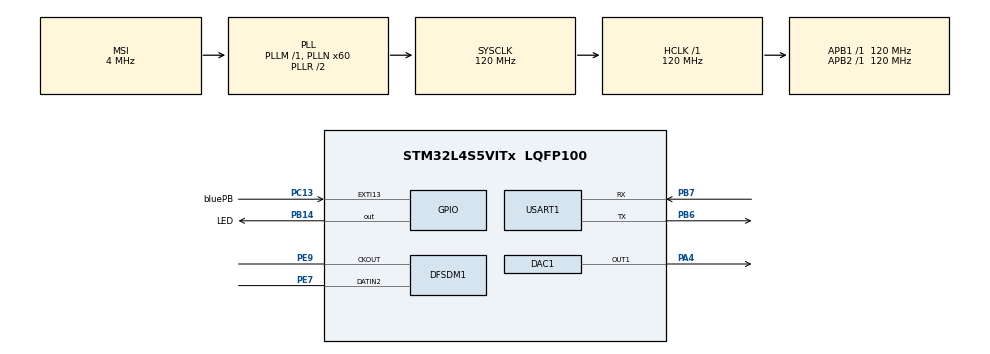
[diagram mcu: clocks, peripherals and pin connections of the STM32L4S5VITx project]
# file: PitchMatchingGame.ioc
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DAC1.DAC_Trigger-DAC_OUT1=DAC_TRIGGER_T2_TRGO
DFSDM1.Divider=50
DFSDM1.DmaMode_reg_FIL0=ENABLE
DFSDM1.FastMode_reg_FIL0=ENABLE
DFSDM1.Filter_regChannel_FIL0=DFSDM_CHANNEL_2
DFSDM1.Fosr_FIL0=55
DFSDM1.SincOrder_FIL0=DFSDM_FILTER_SINC1_ORDER
Dma.DAC1_CH1.1.Direction=DMA_MEMORY_TO_PERIPH
Dma.DAC1_CH1.1.EventEnable=DISABLE
Dma.DAC1_CH1.1.Instance=DMA1_Channel1
Dma.DAC1_CH1.1.MemDataAlignment=DMA_MDATAALIGN_HALFWORD
Dma.DAC1_CH1.1.MemInc=DMA_MINC_ENABLE
Dma.DAC1_CH1.1.Mode=DMA_CIRCULAR
Dma.DAC1_CH1.1.PeriphDataAlignment=DMA_PDATAALIGN_HALFWORD
Dma.DAC1_CH1.1.PeriphInc=DMA_PINC_DISABLE
Dma.DAC1_CH1.1.Polarity=HAL_DMAMUX_REQUEST_GEN_RISING
Dma.DAC1_CH1.1.Priority=DMA_PRIORITY_LOW
Dma.DAC1_CH1.1.RequestNumber=1
Dma.DAC1_CH1.1.SignalID=NONE
Dma.DAC1_CH1.1.SyncEnable=DISABLE
Dma.DAC1_CH1.1.SyncPolarity=HAL_DMAMUX_SYNC_NO_EVENT
Dma.DAC1_CH1.1.SyncRequestNumber=1
Dma.DAC1_CH1.1.SyncSignalID=NONE
Dma.DFSDM1_FLT0.0.Direction=DMA_PERIPH_TO_MEMORY
Dma.DFSDM1_FLT0.0.EventEnable=DISABLE
Dma.DFSDM1_FLT0.0.Instance=DMA1_Channel2
Dma.DFSDM1_FLT0.0.MemDataAlignment=DMA_MDATAALIGN_WORD
Dma.DFSDM1_FLT0.0.MemInc=DMA_MINC_ENABLE
Dma.DFSDM1_FLT0.0.Mode=DMA_NORMAL
Dma.DFSDM1_FLT0.0.PeriphDataAlignment=DMA_PDATAALIGN_WORD
Dma.DFSDM1_FLT0.0.PeriphInc=DMA_PINC_DISABLE
Dma.DFSDM1_FLT0.0.Polarity=HAL_DMAMUX_REQUEST_GEN_RISING
Dma.DFSDM1_FLT0.0.Priority=DMA_PRIORITY_LOW
Dma.DFSDM1_FLT0.0.RequestNumber=1
Dma.DFSDM1_FLT0.0.SignalID=NONE
Dma.DFSDM1_FLT0.0.SyncEnable=DISABLE
Dma.DFSDM1_FLT0.0.SyncPolarity=HAL_DMAMUX_SYNC_NO_EVENT
Dma.DFSDM1_FLT0.0.SyncRequestNumber=1
Dma.DFSDM1_FLT0.0.SyncSignalID=NONE
Dma.Request0=DFSDM1_FLT0
Dma.Request1=DAC1_CH1
Mcu.Family=STM32L4
Mcu.Name=STM32L4S5VITx
Mcu.Package=LQFP100
NVIC.DMA1_Channel1_IRQn=true\:0\:0\:false\:false\:true\:false\:true\:true
NVIC.DMA1_Channel2_IRQn=true\:0\:0\:false\:false\:true\:false\:true\:true
NVIC.EXTI15_10_IRQn=true\:0\:0\:false\:false\:true\:true\:true\:true
NVIC.PriorityGroup=NVIC_PRIORITYGROUP_4
NVIC.TIM2_IRQn=true\:0\:0\:false\:false\:true\:true\:true\:true
NVIC.USART1_IRQn=true\:0\:0\:false\:false\:true\:true\:true\:true
PA4.Signal=COMP_DAC11_group
PB14.GPIO_Label=LED
PB14.Signal=GPIO_Output
PB6.Mode=Asynchronous
PB6.Signal=USART1_TX
PB7.Mode=Asynchronous
PB7.Signal=USART1_RX
PC13.GPIO_Label=bluePB
PC13.Signal=GPXTI13
PE7.Signal=S_DATAIN2DFSDM1
PE9.Signal=S_CKOUTDFSDM1
ProjectManager.HeapSize=0x200
ProjectManager.StackSize=0x400
ProjectManager.TargetToolchain=STM32CubeIDE
RCC.ADCFreq_Value=48000000
RCC.AHBFreq_Value=120000000
RCC.APB1Freq_Value=120000000
RCC.APB1TimFreq_Value=120000000
RCC.APB2Freq_Value=120000000
RCC.APB2TimFreq_Value=120000000
RCC.CortexFreq_Value=120000000
RCC.HCLKFreq_Value=120000000
RCC.HSE_VALUE=8000000
RCC.HSI48_VALUE=48000000
RCC.HSI_VALUE=16000000
RCC.LSE_VALUE=32768
RCC.MSI_VALUE=4000000
RCC.PLLN=60
RCC.PLLSAI1N=24
RCC.SYSCLKFreq_VALUE=120000000
RCC.SYSCLKSource=RCC_SYSCLKSOURCE_PLLCLK
RCC.USBFreq_Value=48000000
RCC.VCOOutputFreq_Value=240000000
SH.COMP_DAC11_group.0=DAC1_OUT1,DAC_OUT1
SH.S_CKOUTDFSDM1.0=DFSDM1_CKOUT,PDM_SPI_input_from_ch2_and_internal_clock
SH.S_CKOUTDFSDM1.1=DFSDM1_CKOUT,CKOUT
SH.S_DATAIN2DFSDM1.0=DFSDM1_DATIN2,PDM_SPI_input_from_ch2_and_internal_clock
TIM2.Period=2750
TIM2.TIM_MasterOutputTrigger=TIM_TRGO_UPDATE
USART1.VirtualMode-Asynchronous=VM_ASYNC
VP_TIM2_VS_ClockSourceINT.Mode=Internal
board=B-L4S5I-IOT01A

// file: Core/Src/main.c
/* USER CODE BEGIN Header */
/**
  ******************************************************************************
  * @file           : main.c
  * @brief          : Main program body
  ******************************************************************************
  * @attention
  *
  * Copyright (c) 2025 STMicroelectronics.
  * All rights reserved.
  *
  * This software is licensed under terms that can be found in the LICENSE file
  * in the root directory of this software component.
  * If no LICENSE file comes with this software, it is provided AS-IS.
  *
  ******************************************************************************
  */
/* USER CODE END Header */
#include "main.h"

/* USER CODE BEGIN Includes */
#define ARM_MATH_CM4
#include "arm_math.h"
#include "stdbool.h"
#include <stdlib.h>
#include <string.h>
#include <time.h>
#include <stdio.h>
#include <math.h>
#include "uart_funtions.h"
/* USER CODE END Includes */

/* USER CODE BEGIN PD */
#define DAC_MAX_BUFFER_SIZE 30
#define FFT_LENGTH  1024    // Power of 2 for FFT
#define SAMPLE_RATE 44100   // Hz (reduced from 44100 to save RAM)
#define PI 3.14159265358979f
#define RECORD_LEN	102424	// samples for 2 seconds
#define SCREEN_WIDTH 90
#define SCREEN_HEIGHT 24
#define RESULT_WAIT 5 // seconds to show result screen
/* USER CODE END PD */

DAC_HandleTypeDef hdac1;
DMA_HandleTypeDef hdma_dac1_ch1;

DFSDM_Filter_HandleTypeDef hdfsdm1_filter0;
DFSDM_Channel_HandleTypeDef hdfsdm1_channel2;
DMA_HandleTypeDef hdma_dfsdm1_flt0;

TIM_HandleTypeDef htim2;

UART_HandleTypeDef huart1;

/* USER CODE BEGIN PV */
// State machine for the game
enum GameState {
	MENU,
	PLAY_TONE,
	WAIT_FOR_RECORD,
	RECORD_SOUND,
	ANALYZE_RECORDING,
	PLAYBACK_SOUND,
	SHOW_RESULT
};

enum GameState gameState = MENU;
bool screen_drawn[7] = {false, false, false, false, false, false, false}; // Track if screen was drawn for each state
// Screen buffer: [row][column] = [height][width]
char screen_buffer[SCREEN_HEIGHT][SCREEN_WIDTH + 1]; // +1 for null terminator

float32_t sine_value;
float32_t angle;
uint16_t dacBuffer[RECORD_LEN];  // DAC reads here (8-bit samples, since we read a byte from memory)
int32_t dfsdmBuffer[RECORD_LEN]; // DFSDM writes here (32-bit samples)

volatile uint32_t target_freq; //random frequency for the played audio
volatile float32_t real_freq;
volatile float32_t recorded_freq = 0.0f; // frequency detected in recorded audio
volatile int32_t raw;
// volatile bool playback = false;
// volatile bool recording = false;

// Global array for DMA:
volatile uint16_t sine_wave_array[DAC_MAX_BUFFER_SIZE];

uint8_t uart_rx_buffer[32];
volatile bool uart_cmd_ready = false;
char uart_line[32];
uint8_t uart_pos = 0;

// Cool spinner animation frames
const char* spinner[] = {"⠋", "⠙", "⠹", "⠸", "⠼", "⠴", "⠦", "⠧", "⠇", "⠏"};
#define SPINNER_FRAMES 10

// FFT Analysis Variables
float32_t fftInput[FFT_LENGTH];
float32_t fftOutput[FFT_LENGTH];
float32_t fftMagnitude[FFT_LENGTH/2];
arm_rfft_fast_instance_f32 fftInstance;

/* USER CODE END PV */

void SystemClock_Config(void);
static void MX_GPIO_Init(void);
static void MX_DMA_Init(void);
static void MX_DAC1_Init(void);
static void MX_TIM2_Init(void);
static void MX_DFSDM1_Init(void);
static void MX_USART1_UART_Init(void);
/* USER CODE BEGIN PFP */
// ADD FFT FUNCTION PROTOTYPE
float32_t analyze_frequency(int32_t* audio_data, uint32_t data_length);

// Screen function prototypes
void clear_screen(void);
void print_to_line(uint8_t row, uint8_t col, const char* text);
void print_screen(void);
void center_text(uint8_t row, const char* text);
void init_console(void);
void print_game_title(void);

void test_screen(void);
void menu_screen(void);
void play_tone_screen(void);
void wait_for_record_screen(void);
void record_sound_screen(bool first_draw);
void analyze_recording_screen(void);
void playback_sound_screen(bool first_draw, uint32_t elapsed_ms, uint32_t duration_ms);
void show_result_screen(void);
/* USER CODE END PFP */

/* USER CODE BEGIN 0 */
void play_sound(void)
{
	//generate sine wave:
	for (int i = 0; i < DAC_MAX_BUFFER_SIZE; i++) {
	  angle = 2.0f * 3.1415926535f * i / DAC_MAX_BUFFER_SIZE;
	  sine_value = arm_sin_f32(angle);
	  sine_wave_array[i] = (uint16_t)(2047.5f * sine_value + 2047.5f);
	}
	// Start DAC in DMA mode for the sine wave:
	HAL_DAC_Start_DMA(&hdac1, DAC_CHANNEL_1, (uint32_t*)sine_wave_array,DAC_MAX_BUFFER_SIZE, DAC_ALIGN_12B_R); //set DAC to read bytes from memory...
}

void set_random_frequency(void)
{
    // Generate random number between 400 Hz and 2100 Hz (example range)
	// rand() gives a random integer between 0 and RAND_MAX (usually 32767).
    //target_freq = 400 + (rand() % 1700);

	// Get random frequency in lena's voice range; 200-1200 Hz:
	target_freq = 200 + (rand() % 1000);

    // Assuming your timer clock = 80 MHz (adjust if different)
    uint32_t timer_clock = 120000000;

    // Compute new ARR value:
    // DAC update rate = timer_clock / (Prescaler+1) / (Period+1)
    // You need the update rate to be f_timer = N_samples * f_out
    uint32_t f_timer = DAC_MAX_BUFFER_SIZE * target_freq;
    uint32_t new_period = (timer_clock / f_timer) - 1;

    __HAL_TIM_DISABLE(&htim2);
    __HAL_TIM_SET_AUTORELOAD(&htim2, new_period);
    __HAL_TIM_SET_COUNTER(&htim2, 0);
    __HAL_TIM_ENABLE(&htim2);

    real_freq = (float32_t)timer_clock / ((new_period + 1) * DAC_MAX_BUFFER_SIZE);
}

//FFT:
float32_t analyze_frequency(int32_t* audio_data, uint32_t data_length) {
    // 1. Prepare data for FFT
    uint32_t samples_to_use = (data_length < FFT_LENGTH) ? data_length : FFT_LENGTH;

    // Remove DC offset
    int64_t dc_offset = 0;
    for (int i = 0; i < samples_to_use; i++) {
        dc_offset += audio_data[i];
    }
    dc_offset /= samples_to_use;

    // 2. Apply AGGRESSIVE high-pass filter - remove everything below ~200Hz
    static float32_t prev_input = 0.0f;
    static float32_t prev_output = 0.0f;
    static float32_t prev_input2 = 0.0f;
    static float32_t prev_output2 = 0.0f;

    // Two-stage high-pass filter for steeper cutoff
    float32_t alpha = 0.97f;  // More aggressive cutoff

    float32_t filtered[FFT_LENGTH];

    // First stage
    for (int i = 0; i < samples_to_use; i++) {
        float32_t current_input = (float32_t)(audio_data[i] - dc_offset);
        filtered[i] = alpha * (prev_output + current_input - prev_input);
        prev_input = current_input;
        prev_output = filtered[i];
    }

    // Second stage - filter again for steeper rolloff
    for (int i = 0; i < samples_to_use; i++) {
        float32_t current_input = filtered[i];
        filtered[i] = alpha * (prev_output2 + current_input - prev_input2);
        prev_input2 = current_input;
        prev_output2 = filtered[i];
    }

    prev_input = 0.0f;
    prev_output = 0.0f;
    prev_input2 = 0.0f;
    prev_output2 = 0.0f;

    // 3. Apply Hamming window
    for (int i = 0; i < samples_to_use; i++) {
        float32_t window = 0.54f - 0.46f * arm_cos_f32(2.0f * PI * i / (FFT_LENGTH - 1));
        fftInput[i] = filtered[i] * window;
    }

    for (int i = samples_to_use; i < FFT_LENGTH; i++) {
        fftInput[i] = 0.0f;
    }

    // 4. Perform Real FFT
    arm_rfft_fast_f32(&fftInstance, fftInput, fftOutput, 0);

    // 5. Compute magnitude spectrum
    fftMagnitude[0] = 0;
    for (int i = 1; i < FFT_LENGTH/2; i++) {
        float32_t real = fftOutput[2*i];
        float32_t imag = fftOutput[2*i + 1];
        fftMagnitude[i] = sqrtf(real*real + imag*imag);
    }

    // 6. Define search range - START AT 200Hz to avoid the 80-180Hz noise
    uint32_t min_bin = (uint32_t)(200.0f * FFT_LENGTH / SAMPLE_RATE);
    uint32_t max_bin = (uint32_t)(1500.0f * FFT_LENGTH / SAMPLE_RATE);

    if (min_bin < 2) min_bin = 2;
    if (max_bin >= FFT_LENGTH/2) max_bin = FFT_LENGTH/2 - 1;

    // 7. Find overall maximum
    float32_t max_magnitude = 0.0f;
    for (uint32_t i = min_bin; i <= max_bin; i++) {
        if (fftMagnitude[i] > max_magnitude) {
            max_magnitude = fftMagnitude[i];
        }
    }

    if (max_magnitude < 1000.0f) {
        return 0.0f;
    }

    // 8. Find ALL significant peaks
    typedef struct {
        uint32_t bin;
        float32_t magnitude;
        float32_t frequency;
    } Peak;

    Peak peaks[30];
    int peak_count = 0;
    float32_t threshold = max_magnitude * 0.15f;

    for (uint32_t i = min_bin + 1; i < max_bin - 1 && peak_count < 30; i++) {
        if (fftMagnitude[i] > threshold &&
            fftMagnitude[i] > fftMagnitude[i-1] &&
            fftMagnitude[i] > fftMagnitude[i+1]) {

            // Parabolic interpolation
            float32_t y0 = fftMagnitude[i-1];
            float32_t y1 = fftMagnitude[i];
            float32_t y2 = fftMagnitude[i+1];

            float32_t delta = 0.5f * (y2 - y0) / (2.0f * y1 - y2 - y0);
            float32_t freq = ((float32_t)i + delta) * SAMPLE_RATE / FFT_LENGTH;

            peaks[peak_count].bin = i;
            peaks[peak_count].magnitude = fftMagnitude[i];
            peaks[peak_count].frequency = freq;
            peak_count++;
        }
    }

    if (peak_count == 0) {
        return 0.0f;
    }

    // 9. Score each peak - HEAVILY favor higher frequencies
    float32_t best_fundamental = 0.0f;
    float32_t best_score = 0.0f;

    for (int i = 0; i < peak_count; i++) {
        float32_t candidate = peaks[i].frequency;
        float32_t score = 0.0f;

        // STRONG frequency weighting - higher = much better
        // 200Hz: weight = 0.4
        // 500Hz: weight = 1.0
        // 1000Hz: weight = 2.0
        // 1500Hz: weight = 3.0
        float32_t frequency_weight = candidate / 500.0f;
        if (frequency_weight < 0.4f) frequency_weight = 0.4f;
        if (frequency_weight > 3.0f) frequency_weight = 3.0f;

        score = peaks[i].magnitude * frequency_weight;

        // Check if other peaks are SUBHARMONICS of this candidate
        int subharmonic_count = 0;
        for (int div = 2; div <= 4; div++) {
            float32_t subharmonic_freq = candidate / (float32_t)div;

            if (subharmonic_freq < 200.0f) continue;

            for (int j = 0; j < peak_count; j++) {
                if (i == j) continue;

                float32_t diff = fabsf(peaks[j].frequency - subharmonic_freq);
                float32_t tolerance = subharmonic_freq * 0.15f;

                if (diff < tolerance) {
                    // Penalize heavily - this is probably not fundamental
                    score *= 0.5f;
                    subharmonic_count++;
                    break;
                }
            }
        }

        // Check for HARMONICS above this candidate
        int harmonic_count = 0;
        for (int h = 2; h <= 5; h++) {
            float32_t harmonic_freq = candidate * h;

            if (harmonic_freq > (float32_t)max_bin * SAMPLE_RATE / FFT_LENGTH) {
                continue;
            }

            for (int j = 0; j < peak_count; j++) {
                float32_t diff = fabsf(peaks[j].frequency - harmonic_freq);
                float32_t tolerance = candidate * 0.15f;

                if (diff < tolerance) {
                    score += peaks[j].magnitude * 0.3f;
                    harmonic_count++;
                    break;
                }
            }
        }

        // Huge boost if we found harmonics and no subharmonics
        if (harmonic_count > 0 && subharmonic_count == 0) {
            score *= 2.0f;
        }

        if (score > best_score) {
            best_score = score;
            best_fundamental = candidate;
        }
    }

    return best_fundamental;
}

// Add this debug function to see what the algorithm is thinking:
void debug_harmonic_analysis(void) {
    char msg[150];
    send_msg("\n=== Harmonic Analysis Debug ===\r\n");

    // Recompute to show scoring
    uint32_t min_bin = (uint32_t)(200.0f * FFT_LENGTH / SAMPLE_RATE);
    uint32_t max_bin = (uint32_t)(1200.0f * FFT_LENGTH / SAMPLE_RATE);

    float32_t max_magnitude = 0.0f;
    for (uint32_t i = min_bin; i <= max_bin; i++) {
        if (fftMagnitude[i] > max_magnitude) {
            max_magnitude = fftMagnitude[i];
        }
    }

    typedef struct {
        uint32_t bin;
        float32_t magnitude;
        float32_t frequency;
    } Peak;

    Peak peaks[30];
    int peak_count = 0;
    float32_t threshold = max_magnitude * 0.15f;

    for (uint32_t i = min_bin + 1; i < max_bin - 1 && peak_count < 30; i++) {
        if (fftMagnitude[i] > threshold &&
            fftMagnitude[i] > fftMagnitude[i-1] &&
            fftMagnitude[i] > fftMagnitude[i+1]) {

            float32_t y0 = fftMagnitude[i-1];
            float32_t y1 = fftMagnitude[i];
            float32_t y2 = fftMagnitude[i+1];

            float32_t delta = 0.5f * (y2 - y0) / (2.0f * y1 - y2 - y0);
            float32_t freq = ((float32_t)i + delta) * SAMPLE_RATE / FFT_LENGTH;

            peaks[peak_count].bin = i;
            peaks[peak_count].magnitude = fftMagnitude[i];
            peaks[peak_count].frequency = freq;
            peak_count++;
        }
    }

    sprintf(msg, "Found %d peaks. Analyzing candidates:\r\n", peak_count);
    send_msg(msg);

    // Show ALL candidates with detailed scoring
    for (int i = 0; i < peak_count; i++) {
        float32_t candidate = peaks[i].frequency;
        int harmonic_count = 0;
        int subharmonic_count = 0;

        // Check for subharmonics
        for (int div = 2; div <= 4; div++) {
            float32_t subharmonic_freq = candidate / (float32_t)div;
            if (subharmonic_freq < 100.0f) continue;

            for (int j = 0; j < peak_count; j++) {
                if (i == j) continue;
                float32_t diff = fabsf(peaks[j].frequency - subharmonic_freq);
                if (diff < subharmonic_freq * 0.15f) {
                    subharmonic_count++;
                    break;
                }
            }
        }

        // Check for harmonics
        for (int h = 2; h <= 5; h++) {
            float32_t harmonic_freq = candidate * h;
            if (harmonic_freq > 1200.0f) continue;

            for (int j = 0; j < peak_count; j++) {
                float32_t diff = fabsf(peaks[j].frequency - harmonic_freq);
                if (diff < candidate * 0.15f) {
                    harmonic_count++;
                    break;
                }
            }
        }

        sprintf(msg, "  %.1f Hz: mag %.0f, %dH/%dS\r\n",
                candidate, peaks[i].magnitude, harmonic_count, subharmonic_count);
        send_msg(msg);
    }
    send_msg("==============================\r\n\n");
}

// Wrapper for UART send messages
void send_msg(char* msg){
	// HAL_UART_Transmit(&huart1, (uint8_t*)msg, strlen(msg), 1000);
	sendBuffer(huart1.Instance, (uint8_t*)msg, strlen(msg));
}

// Initialize console - print 24 lines and show loading animation
void init_console(void) {
  // Print 24 empty lines to set resolution
  char newlines[SCREEN_HEIGHT + 1];
  for(int i = 0; i < SCREEN_HEIGHT; i++) {
    newlines[i] = '\n';
  }
  newlines[SCREEN_HEIGHT] = '\0';
  HAL_UART_Transmit(&huart1, (uint8_t*)newlines, SCREEN_HEIGHT, 1000);

  // Show initialization screen with loading animation
  clear_screen();
  print_game_title();

  center_text(14, "Initializing System...");
  center_text(15, "Console Resolution: 90x24");

  center_text(16, "System Ready");

  // Print the screen once
  print_screen();

  // Show loading progress bar only on line 23 (last line) for 5 seconds
  uint32_t start_time = HAL_GetTick();
  uint32_t elapsed = 0;
  uint32_t duration = 2000;

  while (elapsed < duration) {
    // Calculate progress percentage
    uint32_t progress = (elapsed * 100) / duration;
    if (progress > 100) progress = 100;

    // Create progress bar: [====>    ] 50%
    int bar_width = 60; // Fixed bar width
    int filled = (progress * bar_width) / 100;

    char loading[SCREEN_WIDTH + 1];
    // Center the progress bar
    int start_pos = (SCREEN_WIDTH - bar_width - 8) / 2; // 8 for "[", "]", " ", "100%"
    int pos = 0;

    // Fill with spaces to center
    for(int i = 0; i < start_pos; i++) {
      loading[pos++] = ' ';
    }

    loading[pos++] = '[';
    for(int i = 0; i < bar_width; i++) {
      if (i < filled) {
        loading[pos++] = '=';
      } else if (i == filled && filled < bar_width) {
        loading[pos++] = '>';
      } else {
        loading[pos++] = ' ';
      }
    }
    loading[pos++] = ']';
    loading[pos++] = ' ';
    sprintf(loading + pos, "%3d%%", (int) progress);

    // Fill rest with spaces
    while (pos < SCREEN_WIDTH) {
      loading[pos++] = ' ';
    }
    loading[SCREEN_WIDTH] = '\0';

    // Update screen buffer line 23
    memcpy(screen_buffer[23], loading, SCREEN_WIDTH);

    // Print only line 23 with carriage return (no newline)
    char line[SCREEN_WIDTH + 1];
    memcpy(line, screen_buffer[23], SCREEN_WIDTH);
    line[SCREEN_WIDTH] = '\r';
    HAL_UART_Transmit(&huart1, (uint8_t*)line, SCREEN_WIDTH + 1, 1000);

    HAL_Delay(50); // Update every 50ms for smooth progress
    elapsed = HAL_GetTick() - start_time;
  }

  HAL_Delay(1000);
}

// Test screen
void test_screen(void) {
  // This tests the screen resolution of 90x24
  clear_screen();

  // Top border with line number
  char top_line[SCREEN_WIDTH + 1];
  sprintf(top_line, "1=========----------==========----------TESTSCREEN----------==========----------========90");
  print_to_line(0, 0, top_line);

  // Numbered lines
  for(int i = 2; i < 24; i++) {
    char line[20];
    sprintf(line, "%d", i);
    print_to_line(i - 1, 0, line);
  }

  // Bottom border
  char bottom_line[SCREEN_WIDTH + 1];
  sprintf(bottom_line, "24========----------==========----------[[90__24]]----------==========----------========90");
  print_to_line(23, 0, bottom_line);

  print_screen();
}

/**
 * Print the game title to the screen
 * From line 2 to line 12
 * From column 4 to column 40
    ____  _ __       __       __  ___      __       __    _
   / __ \(_) /______/ /_     /  |/  /___ _/ /______/ /_  (_)___  ____ _
  / /_/ / / __/ ___/ __ \   / /|_/ / __ `/ __/ ___/ __ \/ / __ \/ __ `/
 / ____/ / /_/ /__/ / / /  / /  / / /_/ / /_/ /__/ / / / / / / / /_/ /
/_/   /_/\__/\___/_/ /_/  /_/  /_/\__,_/\__/\___/_/ /_/_/_/ /_/\__, /
                                                              /____/
   _________    __  _________
  / ____/   |  /  |/  / ____/
 / / __/ /| | / /|_/ / __/
/ /_/ / ___ |/ /  / / /___
\____/_/  |_/_/  /_/_____/

 */
void print_game_title(void) {

   print_to_line(2, 4, "    ____  _ __       __       __  ___      __       __    _");
   print_to_line(3, 4, "   / __ \\(_) /______/ /_     /  |/  /___ _/ /______/ /_  (_)___  ____ _");
   print_to_line(4, 4, "  / /_/ / / __/ ___/ __ \\   / /|_/ / __ `/ __/ ___/ __ \\/ / __ \\/ __ `/");
   print_to_line(5, 4, " / ____/ / /_/ /__/ / / /  / /  / / /_/ / /_/ /__/ / / / / / / / /_/ /");
   print_to_line(6, 4, "/_/   /_/\\__/\\___/_/ /_/  /_/  /_/\\__,_/\\__/\\___/_/ /_/_/_/ /_/\\__, /");
   print_to_line(7, 4, "                                                              /____/");

   print_to_line(8 , 14, "   _________    __  _________");
   print_to_line(9 , 14, "  / ____/   |  /  |/  / ____/");
   print_to_line(10, 14, " / / __/ /| | / /|_/ / __/");
   print_to_line(11, 14, "/ /_/ / ___ |/ /  / / /___");
   print_to_line(12, 14, "\\____/_/  |_/_/  /_/_____/");
}

// Clear screen buffer with spaces
void clear_screen(void) {
  for(int row = 0; row < SCREEN_HEIGHT; row++) {
    for(int col = 0; col < SCREEN_WIDTH; col++) {
      screen_buffer[row][col] = ' ';
    }
    screen_buffer[row][SCREEN_WIDTH] = '\0'; // Null terminate
  }
}

// Print a string to a specific line (row) at a specific column
void print_to_line(uint8_t row, uint8_t col, const char* text) {
  if (row >= SCREEN_HEIGHT) return;

  int len = strlen(text);
  int max_len = SCREEN_WIDTH - col;
  if (len > max_len) len = max_len;

  for(int i = 0; i < len; i++) {
    if (col + i < SCREEN_WIDTH) {
      screen_buffer[row][col + i] = text[i];
    }
  }
}

// Print entire screen buffer to UART (clears screen first with newlines)
void print_screen(void) {
  // Clear screen by sending 24 newlines
  char newlines[SCREEN_HEIGHT + 1];
  for(int i = 0; i < SCREEN_HEIGHT; i++) {
    newlines[i] = '\n';
  }
  newlines[SCREEN_HEIGHT] = '\0';
  HAL_UART_Transmit(&huart1, (uint8_t*)newlines, SCREEN_HEIGHT, 1000);

  // Print each line
  for(int row = 0; row < SCREEN_HEIGHT; row++) {
    char line[SCREEN_WIDTH + 2];
    memcpy(line, screen_buffer[row], SCREEN_WIDTH);
    line[SCREEN_WIDTH] = '\r';
    if (row < SCREEN_HEIGHT - 1) {
      // Add newline for all lines except the last one
      line[SCREEN_WIDTH + 1] = '\n';
      HAL_UART_Transmit(&huart1, (uint8_t*)line, SCREEN_WIDTH + 2, 1000);
    } else {
      // Last line: only carriage return, no newline
      line[SCREEN_WIDTH + 1] = '\r';
      HAL_UART_Transmit(&huart1, (uint8_t*)line, SCREEN_WIDTH + 1, 1000);
    }
  }
}

// Helper function to center text on a line
void center_text(uint8_t row, const char* text) {
  int len = strlen(text);
  int start_col = (SCREEN_WIDTH - len) / 2;
  if (start_col < 0) start_col = 0;
  print_to_line(row, start_col, text);
}

// MENU state screen
void menu_screen(void) {
  clear_screen();

  print_game_title();

  // Menu options with decorative bullets
  center_text(16, "Enter 's' to start the game");

  // Footer
  char footer[] = "✨ Made by Group 21 of ECSE 444 - Fall 2025 ✨";
  center_text(23, footer);

  print_screen();
}

/**
 * Print the play tone screen
 * From line 2 to line 12
 * From column 4 to column 40
 , __  _                                                                /\/
/|/  \| |             o                                       o
 |___/| |  __,            _  _    __,    _  _  _           ,      __
 |    |/  /  |  |   | |  / |/ |  /  |   / |/ |/ |  |   |  / \_|  /
 |    |__/\_/|_/ \_/|/|_/  |  |_/\_/|/    |  |  |_/ \_/|_/ \/ |_/\___/
                   /|              /|
                   \|              \|
 */
void play_tone_screen(void) {
  clear_screen();

  print_to_line(2, 6, ", __  _                                                                /\\/");
  print_to_line(3, 6, "/|/  \\| |             o                                       o");
  print_to_line(4, 6, " |___/| |  __,            _  _    __,    _  _  _           ,      __");
  print_to_line(5, 6, " |    |/  /  |  |   | |  / |/ |  /  |   / |/ |/ |  |   |  / \\_|  /");
  print_to_line(6, 6, " |    |__/\\_/|_/ \\_/|/|_/  |  |_/\\_/|/    |  |  |_/ \\_/|_/ \\/ |_/\\___/");
  print_to_line(7, 6, "                   /|              /|");
  print_to_line(8, 6, "                   \\|              \\|");

  // char freq_msg[50];
  // sprintf(freq_msg, "Target Frequency: %.2f Hz", real_freq);
  // center_text(8, freq_msg);

  center_text(10, "Listen carefully...");

  print_screen();
}

/**
WAIT_FOR_RECORD state screen
 _
(_|   |                                              |
  |   |  __          ,_     _|_         ,_    _  _   |
  |   | /  \_|   |  /  |     |  |   |  /  |  / |/ |  |
   \_/|/\__/  \_/|_/   |_/   |_/ \_/|_/   |_/  |  |_/o
     /|
     \|
*/
void wait_for_record_screen(void) {
  clear_screen();

  print_to_line(2, 8, " _");
  print_to_line(3, 8, "(_|   |                                              |");
  print_to_line(4, 8, "  |   |  __          ,_     _|_         ,_    _  _   |");
  print_to_line(5, 8, "  |   | /  \\_|   |  /  |     |  |   |  /  |  / |/ |  |");
  print_to_line(6, 8, "   \\_/|/\\__/  \\_/|_/   |_/   |_/ \\_/|_/   |_/  |  |_/o");
  print_to_line(7, 8, "     /|");
  print_to_line(8, 8, "     \\|");

  center_text(16, "Try to match the pitch by singing into the microphone!");
  center_text(18, "Enter 'r' to start recording");

  print_screen();
}

/**
 * RECORD_SOUND state screen
 _ _ ___    ___    ___    ___    ___    ___    ___    ___    ___    ___  _ _
( | )   |  /   |  /   |  /   |  /   |  /   |  /   |  /   |  /   |  /   |( | )
|/|/ /| | / /| | / /| | / /| | / /| | / /| | / /| | / /| | / /| | / /| ||/|/
  / ___ |/ ___ |/ ___ |/ ___ |/ ___ |/ ___ |/ ___ |/ ___ |/ ___ |/ ___ |
 /_/  |_/_/  |_/_/  |_/_/  |_/_/  |_/_/  |_/_/  |_/_/  |_/_/  |_/_/  |_|
*/
void record_sound_screen(bool first_draw) {
  if (first_draw) {
    // Draw the screen only once
    clear_screen();

    print_to_line(2, 8, " _ _ ___    ___    ___    ___    ___    ___    ___    ___    ___    ___  _ _");
    print_to_line(3, 8, "( | )   |  /   |  /   |  /   |  /   |  /   |  /   |  /   |  /   |( | )");
    print_to_line(4, 8, "|/|/ /| | / /| | / /| | / /| | / /| | / /| | / /| | / /| | / /| ||/|/");
    print_to_line(5, 8, "  / ___ |/ ___ |/ ___ |/ ___ |/ ___ |/ ___ |/ ___ |/ ___ |/ ___ |");
    print_to_line(6, 8, " /_/  |_/_/  |_/_/  |_/_/  |_/_/  |_/_/  |_/_/  |_/_/  |_/_/  |_|");

    center_text(16, "Made you said that hahahaha...");

    print_screen();
  }

  // Update only line 23 (last line) with recording indicator using \r
  static int frame = 0;
  char indicator[SCREEN_WIDTH + 1];
  sprintf(indicator, "Recording %s", spinner[frame % SPINNER_FRAMES]);
  center_text(23, indicator);
  frame++;

  // Print only line 23 with carriage return (no newline)
  char line[SCREEN_WIDTH + 1];
  memcpy(line, screen_buffer[23], SCREEN_WIDTH);
  line[SCREEN_WIDTH] = '\r';
  // send_msg(line);
  HAL_UART_Transmit(&huart1, (uint8_t*)line, SCREEN_WIDTH + 1, 1000);
}

// ANALYZE_RECORDING state screen
void analyze_recording_screen(void) {
  // Update only line 23 (last line) with analysis message using \r
  center_text(23, "Analyzing your beautiful vocal...");

  // Print only line 23 with carriage return (no newline)
  char line[SCREEN_WIDTH + 1];
  memcpy(line, screen_buffer[23], SCREEN_WIDTH);
  line[SCREEN_WIDTH] = '\r';
  send_msg(line);
  // HAL_UART_Transmit(&huart1, (uint8_t*)line, SCREEN_WIDTH + 1, 1000);
}

/*&
 * SHOW_RESULT state screen

  ____                                            _ _
 / ___| __ _ _ __ ___   ___   _ __ ___  ___ _   _| | |_ ___
| |  _ / _` | '_ ` _ \ / _ \ | '__/ _ \/ __| | | | | __/ __|
| |_| | (_| | | | | | |  __/ | | |  __/\__ \ |_| | | |_\__ \
 \____|\__,_|_| |_| |_|\___| |_|  \___||___/\__,_|_|\__|___/

 _____ _____ _____ _____ _____ _____ _____ _____ _____ _____ _____ _____
|_____|_____|_____|_____|_____|_____|_____|_____|_____|_____|_____|_____|
*/
void show_result_screen(void) {
  clear_screen();

  print_to_line(2, 4, "  ____                                            _ _");
  print_to_line(3, 4, " / ___| __ _ _ __ ___   ___   _ __ ___  ___ _   _| | |_ ___");
  print_to_line(4, 4, "| |  _ / _` | '_ ` _ \\ / _ \\ | '__/ _ \\/ __| | | | | __/ __|");
  print_to_line(5, 4, "| |_| | (_| | | | | | |  __/ | | |  __/\\__ \\ |_| | | |_\\__ \\");
  print_to_line(6, 4, " \\____|\\__,_|_| |_| |_|\\___| |_|  \\___||___/\\__,_|_|\\__|___/");

  print_to_line(8, 4, " _____ _____ _____ _____ _____ _____ _____ _____ _____ _____ _____ _____");
  print_to_line(9, 4, "|_____|_____|_____|_____|_____|_____|_____|_____|_____|_____|_____|_____|");

  if (recorded_freq > 0.0f) {
    float32_t diff = fabsf(recorded_freq - real_freq);
    float32_t ratio = (recorded_freq < real_freq) ? recorded_freq/real_freq : real_freq/recorded_freq;
    float32_t accuracy = ratio * 100.0f;

    char target_msg[50];
    sprintf(target_msg, "Target: %.2f Hz", real_freq);
    center_text(14, target_msg);

    char your_msg[50];
    sprintf(your_msg, "Your pitch: %.2f Hz", recorded_freq);
    center_text(15, your_msg);

    char diff_msg[50];
    sprintf(diff_msg, "Difference: %.2f Hz", diff);
    center_text(16, diff_msg);

    char acc_msg[50];
    sprintf(acc_msg, "Accuracy: %.2f%%", accuracy);
    center_text(17, acc_msg);

    // Result message
    if (diff <= 10.0f) {
      center_text(20, "Excellent match!");
    } else if (diff <= 50.0f) {
      center_text(20, "Good effort!");
    } else {
      center_text(20, "Keep practicing!");
    }
  } else {
    center_text(20, "Womp womp :P Could not detect your pitch");
    center_text(21, "Try again!");
  }

  print_screen();
}

// ADD UART RECEIVE CALLBACK:
//void HAL_UART_RxCpltCallback(UART_HandleTypeDef *huart)
//{
//    if (huart->Instance == USART1)
//    {
//        uint8_t c = uart_rx_buffer[0];
//
//        if (c == '\r' || c == '\n') {
//            uart_line[uart_pos] = '\0';    // terminate string
//            uart_cmd_ready = true;
//            uart_pos = 0;                  // reset for next command
//        }
//        else if (uart_pos < sizeof(uart_line) - 1) {
//            uart_line[uart_pos++] = c;     // store character
//        }
//
//        HAL_UART_Receive_IT(&huart1, uart_rx_buffer, 1);  // restart interrupt
//    }
//}

// FUNCTION TO PROCESS UART COMMANDS:
void process_uart_command(char* cmd) {
    // Remove newline characters
    int len = strlen(cmd);
    while (len > 0 && (cmd[len-1] == '\r' || cmd[len-1] == '\n')) {
        cmd[len-1] = '\0';
        len--;
    }

    if (strcmp(cmd, "start") == 0 || strcmp(cmd, "s") == 0 || strcmp(cmd, "1") == 0) {
        if (gameState == MENU) {
            // Reset screen flags
            for(int i = 0; i < 7; i++) {
                screen_drawn[i] = false;
            }
            gameState = PLAY_TONE;
        }
    }
    else if (strcmp(cmd, "record") == 0 || strcmp(cmd, "r") == 0) {
        if (gameState == WAIT_FOR_RECORD) {
            send_msg("Starting recording...\r\n");
            HAL_GPIO_WritePin(LED_GPIO_Port, LED_Pin, GPIO_PIN_SET);
            if (HAL_DFSDM_FilterRegularStart_DMA(&hdfsdm1_filter0, dfsdmBuffer, RECORD_LEN) != HAL_OK) {
                send_msg("Error starting recording!\r\n");
                gameState = MENU;
            } else {
                gameState = RECORD_SOUND;
            }
        }
    }
    else if (strcmp(cmd, "help") == 0 || strcmp(cmd, "h") == 0) {
        send_msg("Available commands:\r\n");
        send_msg("start/s - Start the game\r\n");
        send_msg("record/r - Start recording (when prompted)\r\n");
        send_msg("help/h - Show this help\r\n");
    }
    else {
        char msg[60];
        sprintf(msg, "Unknown command: '%s'. Type 'help' for commands.\r\n", cmd);
        send_msg(msg);
    }
}
/* USER CODE END 0 */

int main(void)
{

  /* MCU Configuration--------------------------------------------------------*/

  /* Reset of all peripherals, Initializes the Flash interface and the Systick. */
  HAL_Init();

  /* Configure the system clock */
  SystemClock_Config();

  /* Initialize all configured peripherals */
  MX_GPIO_Init();
  MX_DMA_Init();
  MX_DAC1_Init();
  MX_TIM2_Init();
  MX_DFSDM1_Init();
  MX_USART1_UART_Init();
  /* USER CODE BEGIN 2 */

  HAL_TIM_Base_Start(&htim2); //Don't forget to set DAC trigger tim2 for DMA

  // Initialize FFT
  if (arm_rfft_fast_init_f32(&fftInstance, FFT_LENGTH) != ARM_MATH_SUCCESS) {
      Error_Handler();
  }

  //for the random frequency:
  srand(HAL_GetTick());

  // START UART RECEPTION - ADD THIS LINE:
  HAL_UART_Receive_IT(&huart1, uart_rx_buffer, 1); //This tells the UART peripheral: "When you receive 1 byte, trigger an interrupt"

  // Initialize console - print 24 lines and show loading animation
  init_console();
  /* USER CODE END 2 */

  /* Infinite loop */
  /* USER CODE BEGIN WHILE */
  while (1)
  {
	if (uart_cmd_ready) {
    /**
     * possible commands includes:
     * start/s - Start the game
     * record/r - Start recording (when prompted)
     * help/h - Show this help
     */
	  process_uart_command(uart_line);
	  uart_cmd_ready = false;
	}
	switch(gameState) {
		case MENU: {
			if (!screen_drawn[MENU]) {
				menu_screen();
				screen_drawn[MENU] = true;
			}
			HAL_Delay(10);
			break;
    }
		case PLAY_TONE: {
			if (!screen_drawn[PLAY_TONE]) {
				// Play the target frequency tone
				set_random_frequency();
				play_tone_screen();
				play_sound();
				screen_drawn[PLAY_TONE] = true;
			}
			HAL_Delay(3000);  // Play tone for 3 seconds
			HAL_DAC_Stop_DMA(&hdac1, DAC_CHANNEL_1);
			// Reset flags and move to next state
			screen_drawn[PLAY_TONE] = false;
			screen_drawn[WAIT_FOR_RECORD] = false;
			gameState = WAIT_FOR_RECORD;
			break;
		}

		case WAIT_FOR_RECORD: {
			if (!screen_drawn[WAIT_FOR_RECORD]) {
				wait_for_record_screen();
				screen_drawn[WAIT_FOR_RECORD] = true;
			}
			HAL_Delay(10);
			break;
		}

		case RECORD_SOUND:
			// Update screen periodically to show animation
			static uint32_t last_record_update = 0;
			if (HAL_GetTick() - last_record_update > 200) {
				record_sound_screen(!screen_drawn[RECORD_SOUND]);
				if (!screen_drawn[RECORD_SOUND]) {
					screen_drawn[RECORD_SOUND] = true;
				}
				last_record_update = HAL_GetTick();
			}
			// Recording is in progress (handled by interrupt)
			HAL_Delay(10);
			break;

		case ANALYZE_RECORDING:
			// Show analysis screen with animation
			static uint32_t last_analyze_update = 0;
			if (HAL_GetTick() - last_analyze_update > 200) {
				analyze_recording_screen();
				last_analyze_update = HAL_GetTick();
			}
			// Perform frequency analysis
			recorded_freq = analyze_frequency(dfsdmBuffer, RECORD_LEN);
			// Note: debug_harmonic_analysis() uses send_msg for debug output

			// Reset flags and move directly to SHOW_RESULT (skip playback)
			screen_drawn[ANALYZE_RECORDING] = false;
			screen_drawn[SHOW_RESULT] = false;
			gameState = SHOW_RESULT;
			break;

		case SHOW_RESULT: {
			if (!screen_drawn[SHOW_RESULT]) {
				show_result_screen();
				screen_drawn[SHOW_RESULT] = true;
			}
			// Reset all flags before go back to MENU state
			for(int i = 0; i < 7; i++) {
				screen_drawn[i] = false;
			}

			// INSERT_YOUR_CODE
			// Countdown from 10 to 0 with \r on result screen
			for (int sec = RESULT_WAIT; sec >= 0; sec--) {
				char countdown_line[SCREEN_WIDTH + 1];
				// Format message: "Returning to menu in 10...", centered
				char msg[32];
				sprintf(msg, "Returning to menu in %2d...", sec);
				memset(countdown_line, ' ', SCREEN_WIDTH);
				int msg_len = strlen(msg);
				int start_pos = (SCREEN_WIDTH - msg_len) / 2;
				if (start_pos < 0) start_pos = 0;
				memcpy(countdown_line + start_pos, msg, msg_len);
				countdown_line[SCREEN_WIDTH] = '\r'; // carriage return
				HAL_UART_Transmit(&huart1, (uint8_t*)countdown_line, SCREEN_WIDTH + 1, 1000);
				HAL_Delay(1000); // Wait 1 second
			}

			gameState = MENU;
			break;
		}

		default:
			// Reset all flags
			for(int i = 0; i < 7; i++) {
				screen_drawn[i] = false;
			}
			gameState = MENU;
			break;
	}

    /* USER CODE END WHILE */

  }
}

void SystemClock_Config(void)
{
  RCC_OscInitTypeDef RCC_OscInitStruct = {0};
  RCC_ClkInitTypeDef RCC_ClkInitStruct = {0};

  /** Configure the main internal regulator output voltage
  */
  if (HAL_PWREx_ControlVoltageScaling(PWR_REGULATOR_VOLTAGE_SCALE1_BOOST) != HAL_OK)
  {
    Error_Handler();
  }

  /** Initializes the RCC Oscillators according to the specified parameters
  * in the RCC_OscInitTypeDef structure.
  */
  RCC_OscInitStruct.OscillatorType = RCC_OSCILLATORTYPE_MSI;
  RCC_OscInitStruct.MSIState = RCC_MSI_ON;
  RCC_OscInitStruct.MSICalibrationValue = 0;
  RCC_OscInitStruct.MSIClockRange = RCC_MSIRANGE_6;
  RCC_OscInitStruct.PLL.PLLState = RCC_PLL_ON;
  RCC_OscInitStruct.PLL.PLLSource = RCC_PLLSOURCE_MSI;
  RCC_OscInitStruct.PLL.PLLM = 1;
  RCC_OscInitStruct.PLL.PLLN = 60;
  RCC_OscInitStruct.PLL.PLLP = RCC_PLLP_DIV2;
  RCC_OscInitStruct.PLL.PLLQ = RCC_PLLQ_DIV2;
  RCC_OscInitStruct.PLL.PLLR = RCC_PLLR_DIV2;
  if (HAL_RCC_OscConfig(&RCC_OscInitStruct) != HAL_OK)
  {
    Error_Handler();
  }

  /** Initializes the CPU, AHB and APB buses clocks
  */
  RCC_ClkInitStruct.ClockType = RCC_CLOCKTYPE_HCLK|RCC_CLOCKTYPE_SYSCLK
                              |RCC_CLOCKTYPE_PCLK1|RCC_CLOCKTYPE_PCLK2;
  RCC_ClkInitStruct.SYSCLKSource = RCC_SYSCLKSOURCE_PLLCLK;
  RCC_ClkInitStruct.AHBCLKDivider = RCC_SYSCLK_DIV1;
  RCC_ClkInitStruct.APB1CLKDivider = RCC_HCLK_DIV1;
  RCC_ClkInitStruct.APB2CLKDivider = RCC_HCLK_DIV1;

  if (HAL_RCC_ClockConfig(&RCC_ClkInitStruct, FLASH_LATENCY_5) != HAL_OK)
  {
    Error_Handler();
  }
}

static void MX_DAC1_Init(void)
{

  DAC_ChannelConfTypeDef sConfig = {0};

  /** DAC Initialization
  */
  hdac1.Instance = DAC1;
  if (HAL_DAC_Init(&hdac1) != HAL_OK)
  {
    Error_Handler();
  }

  /** DAC channel OUT1 config
  */
  sConfig.DAC_SampleAndHold = DAC_SAMPLEANDHOLD_DISABLE;
  sConfig.DAC_Trigger = DAC_TRIGGER_T2_TRGO;
  sConfig.DAC_HighFrequency = DAC_HIGH_FREQUENCY_INTERFACE_MODE_ABOVE_80MHZ;
  sConfig.DAC_OutputBuffer = DAC_OUTPUTBUFFER_ENABLE;
  sConfig.DAC_ConnectOnChipPeripheral = DAC_CHIPCONNECT_DISABLE;
  sConfig.DAC_UserTrimming = DAC_TRIMMING_FACTORY;
  if (HAL_DAC_ConfigChannel(&hdac1, &sConfig, DAC_CHANNEL_1) != HAL_OK)
  {
    Error_Handler();
  }

}

static void MX_DFSDM1_Init(void)
{

  hdfsdm1_filter0.Instance = DFSDM1_Filter0;
  hdfsdm1_filter0.Init.RegularParam.Trigger = DFSDM_FILTER_SW_TRIGGER;
  hdfsdm1_filter0.Init.RegularParam.FastMode = ENABLE;
  hdfsdm1_filter0.Init.RegularParam.DmaMode = ENABLE;
  hdfsdm1_filter0.Init.FilterParam.SincOrder = DFSDM_FILTER_SINC1_ORDER;
  hdfsdm1_filter0.Init.FilterParam.Oversampling = 55;
  hdfsdm1_filter0.Init.FilterParam.IntOversampling = 1;
  if (HAL_DFSDM_FilterInit(&hdfsdm1_filter0) != HAL_OK)
  {
    Error_Handler();
  }
  hdfsdm1_channel2.Instance = DFSDM1_Channel2;
  hdfsdm1_channel2.Init.OutputClock.Activation = ENABLE;
  hdfsdm1_channel2.Init.OutputClock.Selection = DFSDM_CHANNEL_OUTPUT_CLOCK_SYSTEM;
  hdfsdm1_channel2.Init.OutputClock.Divider = 50;
  hdfsdm1_channel2.Init.Input.Multiplexer = DFSDM_CHANNEL_EXTERNAL_INPUTS;
  hdfsdm1_channel2.Init.Input.DataPacking = DFSDM_CHANNEL_STANDARD_MODE;
  hdfsdm1_channel2.Init.Input.Pins = DFSDM_CHANNEL_SAME_CHANNEL_PINS;
  hdfsdm1_channel2.Init.SerialInterface.Type = DFSDM_CHANNEL_SPI_RISING;
  hdfsdm1_channel2.Init.SerialInterface.SpiClock = DFSDM_CHANNEL_SPI_CLOCK_INTERNAL;
  hdfsdm1_channel2.Init.Awd.FilterOrder = DFSDM_CHANNEL_FASTSINC_ORDER;
  hdfsdm1_channel2.Init.Awd.Oversampling = 1;
  hdfsdm1_channel2.Init.Offset = 0;
  hdfsdm1_channel2.Init.RightBitShift = 0x00;
  if (HAL_DFSDM_ChannelInit(&hdfsdm1_channel2) != HAL_OK)
  {
    Error_Handler();
  }
  if (HAL_DFSDM_FilterConfigRegChannel(&hdfsdm1_filter0, DFSDM_CHANNEL_2, DFSDM_CONTINUOUS_CONV_ON) != HAL_OK)
  {
    Error_Handler();
  }

}

static void MX_TIM2_Init(void)
{

  TIM_ClockConfigTypeDef sClockSourceConfig = {0};
  TIM_MasterConfigTypeDef sMasterConfig = {0};

  htim2.Instance = TIM2;
  htim2.Init.Prescaler = 0;
  htim2.Init.CounterMode = TIM_COUNTERMODE_UP;
  htim2.Init.Period = 2750;
  htim2.Init.ClockDivision = TIM_CLOCKDIVISION_DIV1;
  htim2.Init.AutoReloadPreload = TIM_AUTORELOAD_PRELOAD_DISABLE;
  if (HAL_TIM_Base_Init(&htim2) != HAL_OK)
  {
    Error_Handler();
  }
  sClockSourceConfig.ClockSource = TIM_CLOCKSOURCE_INTERNAL;
  if (HAL_TIM_ConfigClockSource(&htim2, &sClockSourceConfig) != HAL_OK)
  {
    Error_Handler();
  }
  sMasterConfig.MasterOutputTrigger = TIM_TRGO_UPDATE;
  sMasterConfig.MasterSlaveMode = TIM_MASTERSLAVEMODE_DISABLE;
  if (HAL_TIMEx_MasterConfigSynchronization(&htim2, &sMasterConfig) != HAL_OK)
  {
    Error_Handler();
  }

}

static void MX_USART1_UART_Init(void)
{

  huart1.Instance = USART1;
  huart1.Init.BaudRate = 115200;
  huart1.Init.WordLength = UART_WORDLENGTH_8B;
  huart1.Init.StopBits = UART_STOPBITS_1;
  huart1.Init.Parity = UART_PARITY_NONE;
  huart1.Init.Mode = UART_MODE_TX_RX;
  huart1.Init.HwFlowCtl = UART_HWCONTROL_NONE;
  huart1.Init.OverSampling = UART_OVERSAMPLING_16;
  huart1.Init.OneBitSampling = UART_ONE_BIT_SAMPLE_DISABLE;
  huart1.Init.ClockPrescaler = UART_PRESCALER_DIV1;
  huart1.AdvancedInit.AdvFeatureInit = UART_ADVFEATURE_NO_INIT;
  if (HAL_UART_Init(&huart1) != HAL_OK)
  {
    Error_Handler();
  }
  if (HAL_UARTEx_SetTxFifoThreshold(&huart1, UART_TXFIFO_THRESHOLD_1_8) != HAL_OK)
  {
    Error_Handler();
  }
  if (HAL_UARTEx_SetRxFifoThreshold(&huart1, UART_RXFIFO_THRESHOLD_1_8) != HAL_OK)
  {
    Error_Handler();
  }
  if (HAL_UARTEx_DisableFifoMode(&huart1) != HAL_OK)
  {
    Error_Handler();
  }

}

static void MX_DMA_Init(void)
{

  /* DMA controller clock enable */
  __HAL_RCC_DMAMUX1_CLK_ENABLE();
  __HAL_RCC_DMA1_CLK_ENABLE();

  /* DMA interrupt init */
  /* DMA1_Channel1_IRQn interrupt configuration */
  HAL_NVIC_SetPriority(DMA1_Channel1_IRQn, 0, 0);
  HAL_NVIC_EnableIRQ(DMA1_Channel1_IRQn);
  /* DMA1_Channel2_IRQn interrupt configuration */
  HAL_NVIC_SetPriority(DMA1_Channel2_IRQn, 0, 0);
  HAL_NVIC_EnableIRQ(DMA1_Channel2_IRQn);

}

static void MX_GPIO_Init(void)
{
  GPIO_InitTypeDef GPIO_InitStruct = {0};

  /* GPIO Ports Clock Enable */
  __HAL_RCC_GPIOC_CLK_ENABLE();
  __HAL_RCC_GPIOA_CLK_ENABLE();
  __HAL_RCC_GPIOE_CLK_ENABLE();
  __HAL_RCC_GPIOB_CLK_ENABLE();

  /*Configure GPIO pin Output Level */
  HAL_GPIO_WritePin(LED_GPIO_Port, LED_Pin, GPIO_PIN_RESET);

  /*Configure GPIO pin : bluePB_Pin */
  GPIO_InitStruct.Pin = bluePB_Pin;
  GPIO_InitStruct.Mode = GPIO_MODE_IT_RISING;
  GPIO_InitStruct.Pull = GPIO_NOPULL;
  HAL_GPIO_Init(bluePB_GPIO_Port, &GPIO_InitStruct);

  /*Configure GPIO pin : LED_Pin */
  GPIO_InitStruct.Pin = LED_Pin;
  GPIO_InitStruct.Mode = GPIO_MODE_OUTPUT_PP;
  GPIO_InitStruct.Pull = GPIO_NOPULL;
  GPIO_InitStruct.Speed = GPIO_SPEED_FREQ_LOW;
  HAL_GPIO_Init(LED_GPIO_Port, &GPIO_InitStruct);

  /* EXTI interrupt init*/
  HAL_NVIC_SetPriority(EXTI15_10_IRQn, 0, 0);
  HAL_NVIC_EnableIRQ(EXTI15_10_IRQn);

}

/* USER CODE BEGIN 4 */
void HAL_GPIO_EXTI_Callback(uint16_t GPIO_Pin){
	// Button functionality removed - using UART commands instead
	// This callback can be left empty or removed
}

void HAL_DFSDM_FilterRegConvCpltCallback(DFSDM_Filter_HandleTypeDef *hdfsdm_filter) {
	// Stop DFSDM first!
	HAL_DFSDM_FilterRegularStop_DMA(&hdfsdm1_filter0);

	HAL_GPIO_WritePin(LED_GPIO_Port, LED_Pin, GPIO_PIN_RESET);
	// send_msg("Recording complete!\r\n");

	for (int i = 0; i < RECORD_LEN; i++) {
		raw = dfsdmBuffer[i] >> 8;  // 24-bit signed sample
		int32_t rawclip = raw;

		// Clip typical mic's amplitude (found ranges via mic testing)
		// This controls how buzzy/clear the audio is
		// Increasing fosr makes it more speady
		int max = 2500; //2500
		int min = -1000; //-1000
		int diff = max - min;
		if (raw >= max) rawclip = max;
		if (raw <= min) rawclip = min;
		rawclip += (-min);  // shift to stay in positive range

		dacBuffer[i] = (uint16_t)((rawclip * 4095) / diff); // scale to 12-bit DAC
	}

	// Move to analyze state
	if (gameState == RECORD_SOUND) {
		gameState = ANALYZE_RECORDING;
	}

}

/* USER CODE END 4 */

void Error_Handler(void)
{
  __disable_irq();
  while (1)
  {
  }
}
